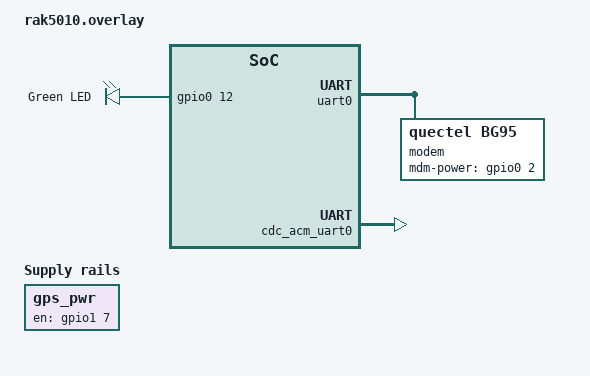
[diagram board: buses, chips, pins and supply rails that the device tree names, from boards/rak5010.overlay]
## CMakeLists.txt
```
# SPDX-License-Identifier: Apache-2.0

cmake_minimum_required(VERSION 3.20.0)

find_package(Zephyr REQUIRED HINTS $ENV{ZEPHYR_BASE})
project(cellular_rak5010)

target_sources(app PRIVATE src/main.c
							src/rak_modem.c)
target_sources_ifdef(CONFIG_BT_PERIPHERAL app PRIVATE src/rak_ble_peripheral.c)
```

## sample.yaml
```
sample:
  name: Cellular
tests:
  sample.modem.cellular:
    platform_allow:
      - rak5010
    extra_args: EXTRA_CONF_FILE=overlay_ble.conf
    tags: rak
    build_only: true
```

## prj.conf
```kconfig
CONFIG_GPIO=y
CONFIG_REGULATOR=y
CONFIG_UART_ASYNC_API=y
CONFIG_PM_DEVICE=y

CONFIG_MAIN_STACK_SIZE=2048
CONFIG_SYSTEM_WORKQUEUE_STACK_SIZE=2048
CONFIG_REQUIRES_FULL_LIBC=y

# Modem driver
CONFIG_POSIX_API=y

CONFIG_MODEM=y
CONFIG_MODEM_CELLULAR=y
CONFIG_MODEM_CELLULAR_APN="internet"
CONFIG_MODEM_SIM_NUMBERS=y
CONFIG_MODEM_CELL_INFO=y
CONFIG_MODEM_LOG_LEVEL_DBG=n
CONFIG_MODEM_MODULES_LOG_LEVEL_DBG=n

# Networking
CONFIG_NETWORKING=y
CONFIG_NET_NATIVE=y
CONFIG_NET_L2_PPP=y
CONFIG_NET_IPV6=n
CONFIG_NET_IPV4=y
CONFIG_NET_SOCKETS=y
CONFIG_NET_SOCKETS_OFFLOAD=n
CONFIG_NET_CONTEXT_RCVTIMEO=y
CONFIG_NET_DHCPV4=y

# Network management
CONFIG_NET_MGMT=y
CONFIG_NET_MGMT_EVENT=y
CONFIG_NET_CONNECTION_MANAGER=y

# Logging
CONFIG_LOG=y
CONFIG_LOG_PRINTK=n
# Open following lines to
# use RTT logging for debug!!!
# CONFIG_USE_SEGGER_RTT=y
# CONFIG_LOG_BACKEND_RTT=y
# CONFIG_LOG_BACKEND_UART=n
```

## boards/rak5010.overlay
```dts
/ {
	chosen {
		zephyr,console = &cdc_acm_uart0;
	};

	leds {
		compatible = "gpio-leds";
		green_led: led_1 {
			gpios = <&gpio0 12 GPIO_ACTIVE_HIGH>;
			label = "Green LED";
		};
	};

	gps_pwr: gps_pwr {
		compatible = "regulator-fixed";
		regulator-name = "gps_pwr";
		enable-gpios = <&gpio1 7 GPIO_ACTIVE_HIGH>;
		regulator-boot-on;
	};

	aliases {
		green-led = &green_led;
		modem-uart = &uart0;
		modem = &modem;
	};
};

&uart0 {
	status = "okay";
	modem: modem {
		status = "okay";
		compatible = "quectel,bg95";
		mdm-power-gpios = <&gpio0 2 GPIO_ACTIVE_HIGH>;
	};
};

&uart1 {
	status = "disabled";
};

&i2c1 {
	status = "disabled";
};

&zephyr_udc0 {
	cdc_acm_uart0: cdc_acm_uart0 {
		compatible = "zephyr,cdc-acm-uart";
	};
};
```

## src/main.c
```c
#include <stdio.h>

#include <zephyr/kernel.h>
#include <zephyr/device.h>

#include "rak_ble_peripheral.h"
#include "rak_modem.h"

#include <zephyr/logging/log.h>
LOG_MODULE_REGISTER(main, LOG_LEVEL_DBG);

int main(void)
{
	int ret = -1;

#if defined(CONFIG_BT_PERIPHERAL)
	ret = rak_ble_peripheral_init();
	if (ret) {
		LOG_ERR("Failed to init ble peripheral: %d", ret);
	}
#endif

	ret = rak_modem_disable_gps_power();
	if (ret) {
		LOG_ERR("Failed to disable gps: %d", ret);
	}

	ret = rak_modem_init();
	if (ret) {
		LOG_ERR("Failed to init modem: %d", ret);
	}

	rak_modem_resume();

	ret = rak_modem_if_up();
	if (ret) {
		LOG_ERR("Failed to bring up network interface: %d", ret);
	}

	ret = rak_modem_connect(120);
	if (ret) {
		LOG_ERR("Failed to connect: %d", ret);
	} else {
		rak_modem_info modem_info;
		ret = rak_modem_get_cellular_info(&modem_info);
		if (ret) {
			LOG_ERR("Failed to get cellular info: %d", ret);
		} else {
			rak_modem_print_info(modem_info);
		}
	}

	ret = rak_modem_if_down();
	if (ret) {
		LOG_ERR("Failed to bring down network interface: %d", ret);
	}

	rak_modem_suspend();

	LOG_INF("Cellular Test %s", CONFIG_BOARD);

	while (1) {
		k_sleep(K_FOREVER);
	}

	return 0;
}
```

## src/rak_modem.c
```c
#include <zephyr/kernel.h>
#include <zephyr/device.h>

#include <zephyr/net/socket.h>
#include <zephyr/net/net_if.h>
#include <zephyr/net/dns_resolve.h>
#include <zephyr/pm/device.h>
#include <zephyr/pm/device_runtime.h>
#include <zephyr/drivers/cellular.h>
#include <zephyr/drivers/regulator.h>

#include "rak_modem.h"

#include <zephyr/logging/log.h>
LOG_MODULE_REGISTER(modem, LOG_LEVEL_INF);

// Modem Devices
static const struct device *mdm = DEVICE_DT_GET(DT_ALIAS(modem));
static const struct device *mdm_uart = DEVICE_DT_GET(DT_ALIAS(modem_uart));
static const struct device *gps = DEVICE_DT_GET(DT_NODELABEL(gps_pwr));

struct net_if *iface = NULL;

static const char *modem_cellular_registration_status_str(enum cellular_registration_status status)
{
	switch (status) {
	case CELLULAR_REGISTRATION_NOT_REGISTERED:
		return "NOT_REGISTERED";
	case CELLULAR_REGISTRATION_REGISTERED_HOME:
		return "REGISTERED_HOME";
	case CELLULAR_REGISTRATION_SEARCHING:
		return "SEARCHING";
	case CELLULAR_REGISTRATION_DENIED:
		return "DENIED";
	case CELLULAR_REGISTRATION_UNKNOWN:
		return "UNKNOWN";
	case CELLULAR_REGISTRATION_REGISTERED_ROAMING:
		return "ROAMING";
	}

	return "";
}

int rak_modem_init()
{
	iface = net_if_get_first_by_type(&NET_L2_GET_NAME(PPP));
	if (iface == NULL) {
		LOG_ERR("Failed to init iface.");
		return -EIO;
	}

	return 0;
}

int rak_modem_connect(int timeout_sec)
{
	int ret = net_mgmt_event_wait_on_iface(iface, NET_EVENT_L4_CONNECTED, NULL, NULL, NULL,
					       K_SECONDS(timeout_sec));
	if (ret != 0) {
		LOG_ERR("L4 was not connected in time: %d", ret);
		return ret;
	}

	LOG_INF("Successfully connected to LTE-M network.");

	return ret;
}

int rak_modem_disable_gps_power()
{
	int ret = regulator_disable(gps);
	if (ret) {
		LOG_ERR("Failed to suspend gps: %d", ret);
	}

	return ret;
}

void rak_modem_resume()
{
	(void)pm_device_action_run(mdm_uart, PM_DEVICE_ACTION_RESUME);
	(void)pm_device_action_run(mdm, PM_DEVICE_ACTION_RESUME);
}

void rak_modem_suspend()
{
	(void)pm_device_action_run(mdm, PM_DEVICE_ACTION_SUSPEND);
	(void)pm_device_action_run(mdm_uart, PM_DEVICE_ACTION_SUSPEND);
}

int rak_modem_if_up()
{
	return net_if_up(iface);
}

int rak_modem_if_down()
{
	return net_if_down(iface);
}

int rak_modem_get_cellular_info(rak_modem_info *modem_info)
{
	int ret;

	ret = cellular_get_registration_status(mdm, CELLULAR_ACCESS_TECHNOLOGY_LTE_CAT_M1,
					       &modem_info->reg_status);
	if (ret) {
		LOG_ERR("Failed to get registration status: %d", ret);
	}

	// ret = cellular_get_signal(mdm, CELLULAR_SIGNAL_RSSI, &modem_info->rssi);
	// if (ret) {
	// 	LOG_ERR("Failed to get signal: %d", ret);
	// }

	ret = cellular_get_modem_info(mdm, CELLULAR_MODEM_INFO_IMEI, modem_info->imei,
				      sizeof(modem_info->imei));
	if (ret) {
		LOG_ERR("Failed to get modem imei: %d", ret);
	}

	ret = cellular_get_modem_info(mdm, CELLULAR_MODEM_INFO_MODEL_ID, modem_info->model_id,
				      sizeof(modem_info->model_id));
	if (ret) {
		LOG_ERR("Failed to get model id: %d", ret);
	}

	ret = cellular_get_modem_info(mdm, CELLULAR_MODEM_INFO_MANUFACTURER,
				      modem_info->manufacturer, sizeof(modem_info->manufacturer));
	if (ret) {
		LOG_ERR("Failed to get manufacturer: %d", ret);
	}

	ret = cellular_get_modem_info(mdm, CELLULAR_MODEM_INFO_SIM_IMSI, modem_info->imsi,
				      sizeof(modem_info->imsi));
	if (ret) {
		LOG_ERR("Failed to get imsi: %d", ret);
	}

	ret = cellular_get_modem_info(mdm, CELLULAR_MODEM_INFO_SIM_ICCID, modem_info->iccid,
				      sizeof(modem_info->iccid));
	if (ret) {
		LOG_ERR("Failed to get iccid: %d", ret);
	}

	ret = cellular_get_modem_info(mdm, CELLULAR_MODEM_INFO_FW_VERSION, modem_info->fw_version,
				      sizeof(modem_info->fw_version));
	if (ret) {
		LOG_ERR("Failed to get fw version: %d", ret);
	}

	return 0;
}

void rak_modem_print_info(rak_modem_info info)
{
	LOG_INF("================================");
	LOG_INF("IMEI: %s", info.imei);
	LOG_INF("MODEL_ID: %s", info.model_id);
	LOG_INF("MANUFACTURER: %s", info.manufacturer);
	LOG_INF("FW_VERSION: %s", info.fw_version);
	LOG_INF("SIM_IMSI: %s", info.imsi);
	LOG_INF("SIM_ICCID: %s", info.iccid);
	LOG_INF("RSSI: %d", info.rssi);
	LOG_INF("REGISTRATION: %s", modem_cellular_registration_status_str(info.reg_status));
	LOG_INF("================================");
}
```

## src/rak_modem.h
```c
#ifndef RAK_MODEM_H__
#define RAK_MODEM_H__

#include <zephyr/drivers/cellular.h>

#define MODEM_CELLULAR_DATA_LEN              (16)
#define MODEM_CELLULAR_DATA_IMEI_LEN         (16)
#define MODEM_CELLULAR_DATA_MODEL_ID_LEN     (65)
#define MODEM_CELLULAR_DATA_IMSI_LEN         (23)
#define MODEM_CELLULAR_DATA_ICCID_LEN        (22)
#define MODEM_CELLULAR_DATA_MANUFACTURER_LEN (65)
#define MODEM_CELLULAR_DATA_FW_VERSION_LEN   (65)

typedef struct {
	enum cellular_registration_status reg_status;
	int16_t rssi;
	uint8_t imei[MODEM_CELLULAR_DATA_IMEI_LEN];
	uint8_t model_id[MODEM_CELLULAR_DATA_MODEL_ID_LEN];
	uint8_t manufacturer[MODEM_CELLULAR_DATA_MANUFACTURER_LEN];
	uint8_t imsi[MODEM_CELLULAR_DATA_IMSI_LEN];
	uint8_t iccid[MODEM_CELLULAR_DATA_ICCID_LEN];
	uint8_t fw_version[MODEM_CELLULAR_DATA_FW_VERSION_LEN];
} rak_modem_info;

int rak_modem_init(void);
int rak_modem_connect(int timeout_sec);
int rak_modem_disable_gps_power();
void rak_modem_resume();
void rak_modem_suspend();
int rak_modem_if_up();
int rak_modem_if_down();
int rak_modem_get_cellular_info(rak_modem_info *modem_info);
void rak_modem_print_info(rak_modem_info info);

#endif
```
